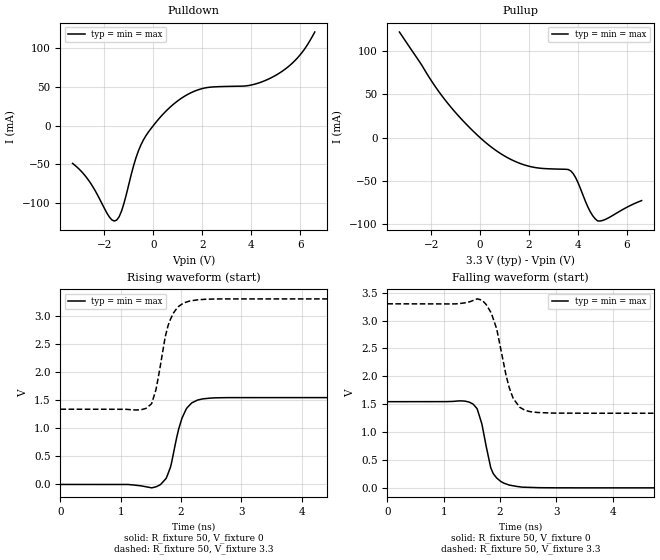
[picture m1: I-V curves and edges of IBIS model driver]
| IBIS file ex2_slow_1ns.ibs created by PYS2IBIS3
| Missouri S&T EMC Lab
[IBIS Ver] 7.1
[File Name] ex2_slow_1ns.ibs
[File Rev] 1.0
[Date] July 28, 2026
[Source] ex2 buffer.sp characterized with s2ibispy and HSPICE
[Notes] Controlled 1 ns source-edge characterization with two 50 ohm waveform
 fixtures.
[Disclaimer] Experimental characterization for pybis observability study.
[Component] MCM Driver 1
[Manufacturer] MegaFLOPS Inc.
[Package]
| variable   typ   min   max
R_pkg 0 NA NA
L_pkg 0H NA NA
C_pkg 0F NA NA
[Pin]  signal_name   model_name   R_pin   L_pin   C_pin
vdd   vdd   POWER
gnd   gnd   GND
| in in dummy
out   out   driver
| End of Component
| Models and submodels in the file (1): driver (Output)
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[Model] driver
Model_type Output
Polarity Non-Inverting
Enable Active-Low
Vinl  = 0.8V
Vinh  = 2V
C_comp 5.0000pF 5.0000pF 5.0000pF
[Temperature Range] 27.0000 27.0000 27.0000
[Voltage Range] 3.3000V 3.3000V 3.3000V
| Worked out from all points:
|   slope of the pulldown table from 0 to 0.495 V, typ, clamps not added: 27.4 ohm
|   slope of the pullup table from 0 to 0.495 V, typ, clamps not added: 42.7 ohm
|   rising waveform, R_fixture 50, V_fixture 0: 20-80 % time 214ps typ, 214ps min, 214ps max; typ from 0 V to 1.54 V
|   rising waveform, R_fixture 50, V_fixture 3.3: 20-80 % time 221ps typ, 221ps min, 221ps max; typ from 1.34 V to 3.3 V
|   falling waveform, R_fixture 50, V_fixture 0: 20-80 % time 207ps typ, 207ps min, 207ps max; typ from 1.54 V to 0 V
|   falling waveform, R_fixture 50, V_fixture 3.3: 20-80 % time 265ps typ, 265ps min, 265ps max; typ from 3.3 V to 1.34 V
[Pulldown]
| Voltage   I(typ)   I(min)   I(max)
-3.3V     -48.93mA   -48.93mA   -48.93mA
-2.6V     -72.86mA   -72.86mA   -72.86mA
-1.8V     -118.2mA   -118.2mA   -118.2mA
-1.5V     -122.5mA   -122.5mA   -122.5mA
-1.3V     -110.9mA   -110.9mA   -110.9mA
-500mV    -24.59mA   -24.59mA   -24.59mA
600mV     21.34mA    21.34mA    21.34mA
1.9V      47.12mA    47.12mA    47.12mA
3.9V      51.99mA    51.99mA    51.99mA
4.9V      63.38mA    63.38mA    63.38mA
5.9V      87.99mA    87.99mA    87.99mA
6.6V      121.3mA    121.3mA    121.3mA
[Pullup]
| Voltage   I(typ)   I(min)   I(max)
-3.3V     122mA      122mA      122mA
-1.9V     61.75mA    61.75mA    61.75mA
-1.3V     38.86mA    38.86mA    38.86mA
-200mV    5.278mA    5.278mA    5.278mA
700mV     -15.75mA   -15.75mA   -15.75mA
2V        -32.92mA   -32.92mA   -32.92mA
3.7V      -38.24mA   -38.24mA   -38.24mA
3.9V      -45.89mA   -45.89mA   -45.89mA
4.5V      -85.43mA   -85.43mA   -85.43mA
4.8V      -95.97mA   -95.97mA   -95.97mA
5.1V      -94.48mA   -94.48mA   -94.48mA
6.6V      -72.53mA   -72.53mA   -72.53mA
[Ramp]
| variable   typ   min   max
dV/dt_r 0.9270/0.2151n 0.9270/0.2151n 0.9270/0.2151n
dV/dt_f 1.1772/0.2651n 1.1772/0.2651n 1.1772/0.2651n
R_load = 50
[Rising Waveform]
R_fixture = 50
V_fixture = 0
|time   V(typ)   V(min)   V(max)
0s        7.302nV    7.302nV    7.302nV
1.081ns   1.861mV    1.861mV    1.861mV
1.514ns   -60.28mV   -60.28mV   -60.28mV
1.658ns   -3.692mV   -3.692mV   -3.692mV
1.754ns   108.3mV    108.3mV    108.3mV
1.826ns   307mV      307mV      307mV
1.962ns   986.3mV    986.3mV    986.3mV
2.09ns    1.347V     1.347V     1.347V
2.354ns   1.52V      1.52V      1.52V
8ns       1.545V     1.545V     1.545V
[Rising Waveform]
R_fixture = 50
V_fixture = 3.3
|time   V(typ)   V(min)   V(max)
0s        1.338V     1.338V     1.338V
1.273ns   1.324V     1.324V     1.324V
1.409ns   1.347V     1.347V     1.347V
1.506ns   1.429V     1.429V     1.429V
1.586ns   1.69V      1.69V      1.69V
1.73ns    2.582V     2.582V     2.582V
1.802ns   2.874V     2.874V     2.874V
1.946ns   3.153V     3.153V     3.153V
2.138ns   3.261V     3.261V     3.261V
8ns       3.3V       3.3V       3.3V
[Falling Waveform]
R_fixture = 50
V_fixture = 0
|time   V(typ)   V(min)   V(max)
0s        1.545V     1.545V     1.545V
1.305ns   1.56V      1.56V      1.56V
1.522ns   1.501V     1.501V     1.501V
1.594ns   1.416V     1.416V     1.416V
1.674ns   1.155V     1.155V     1.155V
1.826ns   393mV      393mV      393mV
1.874ns   265.2mV    265.2mV    265.2mV
2.01ns    115.8mV    115.8mV    115.8mV
2.258ns   31.06mV    31.06mV    31.06mV
8ns       1.276uV    1.276uV    1.276uV
[Falling Waveform]
R_fixture = 50
V_fixture = 3.3
|time   V(typ)   V(min)   V(max)
0s        3.3V       3.3V       3.3V
1.177ns   3.297V     3.297V     3.297V
1.682ns   3.364V     3.364V     3.364V
1.842ns   3.139V     3.139V     3.139V
1.938ns   2.855V     2.855V     2.855V
2.106ns   2.015V     2.015V     2.015V
2.226ns   1.617V     1.617V     1.617V
2.346ns   1.446V     1.446V     1.446V
2.522ns   1.369V     1.369V     1.369V
8ns       1.338V     1.338V     1.338V
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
